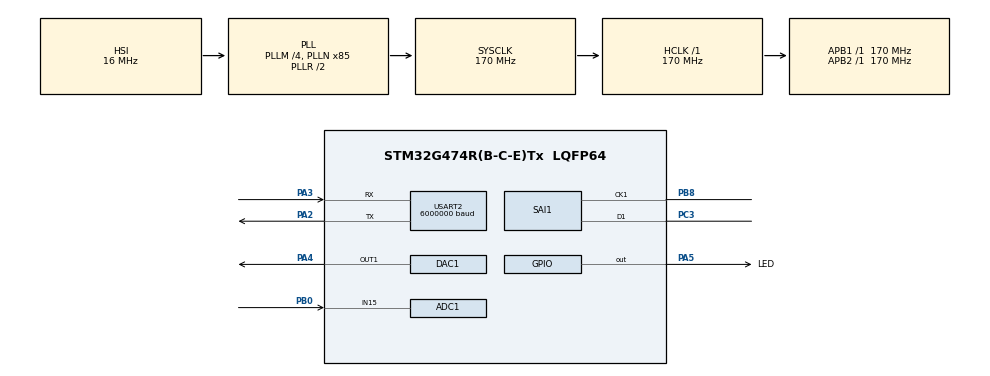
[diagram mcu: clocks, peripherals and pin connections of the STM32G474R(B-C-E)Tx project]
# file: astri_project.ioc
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ADC1.AWD1HighThreshold=2100
ADC1.AWD1ITMode=ENABLE
ADC1.Channel-0\#ChannelRegularConversion=ADC_CHANNEL_15
ADC1.ClockPrescaler=ADC_CLOCK_ASYNC_DIV4
ADC1.ContinuousConvMode=DISABLE
ADC1.DMAContinuousRequests=ENABLE
ADC1.EnableAnalogWatchDog1=true
ADC1.ExternalTrigConv=ADC_EXTERNALTRIG_T2_TRGO
ADC1.NbrOfConversionFlag=1
ADC1.OffsetNumber-0\#ChannelRegularConversion=ADC_OFFSET_NONE
ADC1.Rank-0\#ChannelRegularConversion=1
ADC1.SamplingTime-0\#ChannelRegularConversion=ADC_SAMPLETIME_12CYCLES_5
ADC1.WatchdogChannel=ADC_CHANNEL_15
ADC1.master=1
ARM.CMSIS.5.6.0.CMSISJjDSP=Library
DAC1.DAC_Trigger_OUT1-DAC_OUT1=DAC_TRIGGER_T6_TRGO
Dma.ADC1.0.Direction=DMA_PERIPH_TO_MEMORY
Dma.ADC1.0.EventEnable=DISABLE
Dma.ADC1.0.Instance=DMA1_Channel1
Dma.ADC1.0.MemDataAlignment=DMA_MDATAALIGN_HALFWORD
Dma.ADC1.0.MemInc=DMA_MINC_ENABLE
Dma.ADC1.0.Mode=DMA_CIRCULAR
Dma.ADC1.0.PeriphDataAlignment=DMA_PDATAALIGN_HALFWORD
Dma.ADC1.0.PeriphInc=DMA_PINC_DISABLE
Dma.ADC1.0.Polarity=HAL_DMAMUX_REQ_GEN_RISING
Dma.ADC1.0.Priority=DMA_PRIORITY_HIGH
Dma.ADC1.0.RequestNumber=1
Dma.ADC1.0.SignalID=NONE
Dma.ADC1.0.SyncEnable=DISABLE
Dma.ADC1.0.SyncPolarity=HAL_DMAMUX_SYNC_NO_EVENT
Dma.ADC1.0.SyncRequestNumber=1
Dma.ADC1.0.SyncSignalID=NONE
Dma.Request0=ADC1
Dma.Request1=USART2_TX
Dma.USART2_TX.1.Direction=DMA_MEMORY_TO_PERIPH
Dma.USART2_TX.1.EventEnable=DISABLE
Dma.USART2_TX.1.Instance=DMA1_Channel2
Dma.USART2_TX.1.MemDataAlignment=DMA_MDATAALIGN_BYTE
Dma.USART2_TX.1.MemInc=DMA_MINC_ENABLE
Dma.USART2_TX.1.Mode=DMA_NORMAL
Dma.USART2_TX.1.PeriphDataAlignment=DMA_PDATAALIGN_BYTE
Dma.USART2_TX.1.PeriphInc=DMA_PINC_DISABLE
Dma.USART2_TX.1.Polarity=HAL_DMAMUX_REQ_GEN_RISING
Dma.USART2_TX.1.Priority=DMA_PRIORITY_LOW
Dma.USART2_TX.1.RequestNumber=1
Dma.USART2_TX.1.SignalID=NONE
Dma.USART2_TX.1.SyncEnable=DISABLE
Dma.USART2_TX.1.SyncPolarity=HAL_DMAMUX_SYNC_NO_EVENT
Dma.USART2_TX.1.SyncRequestNumber=1
Dma.USART2_TX.1.SyncSignalID=NONE
Mcu.Family=STM32G4
Mcu.Name=STM32G474R(B-C-E)Tx
Mcu.Package=LQFP64
NVIC.ADC1_2_IRQn=true\:0\:0\:false\:false\:true\:true\:true\:true
NVIC.DMA1_Channel1_IRQn=true\:0\:0\:false\:false\:true\:false\:true\:true
NVIC.DMA1_Channel2_IRQn=true\:0\:0\:false\:false\:true\:false\:true\:true
NVIC.PriorityGroup=NVIC_PRIORITYGROUP_4
NVIC.USART2_IRQn=true\:0\:0\:false\:false\:true\:true\:true\:true
PA13.GPIO_Label=T_SWDIO
PA13.Signal=SYS_JTMS-SWDIO
PA14.GPIO_Label=T_SWCLK
PA14.Signal=SYS_JTCK-SWCLK
PA2.Mode=Asynchronous
PA2.Signal=USART2_TX
PA3.Mode=Asynchronous
PA3.Signal=USART2_RX
PA4.Signal=COMP_DAC11_group
PA5.GPIO_Label=LED
PA5.Signal=GPIO_Output
PB0.Mode=IN15-Single-Ended
PB0.Signal=ADC1_IN15
PB3.GPIO_Label=T_SWO
PB3.Signal=SYS_JTDO-SWO
PB8-BOOT0.Mode=PDM_Master_Mode_CK1
PB8-BOOT0.Signal=SAI1_CK1
PC14-OSC32_IN.GPIO_Label=RCC_OSC32_IN
PC14-OSC32_IN.Signal=RCC_OSC32_IN
PC15-OSC32_OUT.GPIO_Label=RCC_OSC32_OUT
PC15-OSC32_OUT.Signal=RCC_OSC32_OUT
PC3.Mode=PDM_Master_Mode_CK1
PC3.Signal=SAI1_D1
PF0-OSC_IN.GPIO_Label=RCC_OSC_IN
PF0-OSC_IN.Signal=RCC_OSC_IN
PF1-OSC_OUT.GPIO_Label=RCC_OSC_OUT
PF1-OSC_OUT.Signal=RCC_OSC_OUT
ProjectManager.HeapSize=0x200
ProjectManager.StackSize=0x400
ProjectManager.TargetToolchain=STM32CubeIDE
RCC.ADC12CLockSelection=RCC_ADC12CLKSOURCE_PLL
RCC.ADC12Freq_Value=170000000
RCC.ADC345Freq_Value=170000000
RCC.AHBFreq_Value=170000000
RCC.APB1Freq_Value=170000000
RCC.APB1TimFreq_Value=170000000
RCC.APB2Freq_Value=170000000
RCC.APB2TimFreq_Value=170000000
RCC.CortexFreq_Value=170000000
RCC.EXTERNAL_CLOCK_VALUE=12288000
RCC.HCLKFreq_Value=170000000
RCC.HSE_VALUE=24000000
RCC.HSI48_VALUE=48000000
RCC.HSI_VALUE=16000000
RCC.LSE_VALUE=32768
RCC.PLLM=RCC_PLLM_DIV4
RCC.PLLN=85
RCC.PLLQ=RCC_PLLQ_DIV6
RCC.RTCClockSelection=RCC_RTCCLKSOURCE_LSE
RCC.SAI1CLockSelection=RCC_SAI1CLKSOURCE_PLL
RCC.SYSCLKFreq_VALUE=170000000
RCC.SYSCLKSource=RCC_SYSCLKSOURCE_PLLCLK
RCC.USBFreq_Value=56666666.666666664
RCC.VCOOutputFreq_Value=340000000
SAI1.Activation=ENABLE
SAI1.AudioFrequency-PDM_Master_Mode_CK1=SAI_AUDIO_FREQUENCY_MCKDIV
SAI1.DataSize-PDM_Master_Mode_CK1=SAI_DATASIZE_16
SAI1.FSPolarity-PDM_Master_Mode_CK1=SAI_FS_ACTIVE_HIGH
SAI1.FrameLength-PDM_Master_Mode_CK1=16
SAI1.Instance-PDM_Master_Mode_CK1=SAI$Index_Block_A
SAI1.MckOutput-PDM_Master_Mode_CK1=SAI_MCK_OUTPUT_DISABLE
SAI1.Mckdiv-PDM_Master_Mode_CK1=14
SAI1.MonoStereoMode-PDM_Master_Mode_CK1=SAI_MONOMODE
SAI1.SlotActive-PDM_Master_Mode_CK1=0x00000003
SAI1.VirtualMode-PDM_Master_Mode_CK1=VM_MASTER
SAI1.VirtualProtocol-PDM_Master_Mode_CK1=VM_PDM_PROTOCOL
SH.COMP_DAC11_group.0=DAC1_OUT1,DAC_OUT1
TIM2.PeriodNoDither=679
TIM2.TIM_MasterOutputTrigger=TIM_TRGO_UPDATE
TIM6.AutoReloadPreload=TIM_AUTORELOAD_PRELOAD_ENABLE
TIM6.PeriodNoDither=169
TIM6.Prescaler=0
TIM6.TIM_MasterOutputTrigger=TIM_TRGO_UPDATE
USART2.BaudRate=6000000
USART2.VirtualMode-Asynchronous=VM_ASYNC
VP_ARM.CMSIS_VS_CMSISJjDSP_1.7.0_5.6.0.Mode=CMSISJjDSP
VP_CRC_VS_CRC.Mode=CRC_Activate
VP_SYS_VS_DBSignals.Mode=DisableDeadBatterySignals
VP_TIM2_VS_ClockSourceINT.Mode=Internal
VP_TIM6_VS_ClockSourceINT.Mode=Enable_Timer
board=NUCLEO-G474RE

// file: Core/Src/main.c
/* USER CODE BEGIN Header */
/**
  ******************************************************************************
  * @file           : main.c
  * @brief          : Main program body
  ******************************************************************************
  * @attention
  *
  * Copyright (c) 2026 STMicroelectronics.
  * All rights reserved.
  *
  * This software is licensed under terms that can be found in the LICENSE file
  * in the root directory of this software component.
  * If no LICENSE file comes with this software, it is provided AS-IS.
  *
  ******************************************************************************
  */
/* USER CODE END Header */
#include "main.h"

/* USER CODE BEGIN Includes */
#include <stdio.h>
#include "network.h"
#include "arm_math.h"
/* USER CODE END Includes */

/* USER CODE BEGIN PD */

/**
 * ADC
 */
#define BLOCK_SIZE  512
#define ADC_BUF_SIZE (BLOCK_SIZE * 2)
#define FFT_BINS     (BLOCK_SIZE / 2)   // half of block size always, each bin represents = sampling frequency/no. of bins
#define MAG_SIZE (BLOCK_SIZE / 2)

/**
 * UART
 */
#define HEADER_BYTES      2                            // 0xAA, 0xBB
#define PAYLOAD_BYTES     ((FFT_BINS+1) * sizeof(float))   // 256 * 4 = 1024 bytes
#define FOOTER_BYTES      2                            // 0xCC, 0xDD

#define TX_BUF_SIZE       (HEADER_BYTES + PAYLOAD_BYTES + FOOTER_BYTES) // 1028 bytes //originally block size/2

/**
 * DAC
 */
#define DMA_BUFFER_SIZE 64
#define NS  128 // 2x of DMA BUFFER SIZE, no. of points in the sinusoidal wave

/**
 * AI INPUT PRE-PROCESS
 */
#define INPUT_SCALE       (1.0f / 255.0f) // 1/(no. of inputs-1)
#define INPUT_ZERO_POINT  (-128.0f)
#define IS_ARC_BUFFER_SIZE 50

/**
 * Impulse detection
 */
#define PREV_FFT_BUFFER_SIZE 100
#define AVG_BUFFER_SIZE 30
#define AVG_THRESHOLD 30.0f // Set your desired threshold as float32_t

/**
 * SAI
 */
#define DECIMATION_FACTOR   16
#define PCM_BLOCK_SIZE      64    // 64 PCM output samples per DMA interrupt
#define PDM_BUF_SIZE        (PCM_BLOCK_SIZE * DECIMATION_FACTOR * 2) // 2048 words
#define SAI_FFT_SIZE          512
#define SAI_FFT_MAG_SIZE      ((SAI_FFT_SIZE / 2) + 1) // 257 bins (DC to Nyquist)

/* USER CODE END PD */

ADC_HandleTypeDef hadc1;
DMA_HandleTypeDef hdma_adc1;

CRC_HandleTypeDef hcrc;

DAC_HandleTypeDef hdac1;

SAI_HandleTypeDef hsai_BlockA1;

TIM_HandleTypeDef htim2;
TIM_HandleTypeDef htim6;

UART_HandleTypeDef huart2;
DMA_HandleTypeDef hdma_usart2_tx;

/* USER CODE BEGIN PV */

/*1D CNN*/
/* Global byte buffer to save instantiated C-model network context */
STAI_ALIGNED(STAI_NETWORK_CONTEXT_ALIGNMENT)
static stai_network network_context[STAI_NETWORK_CONTEXT_SIZE] = {0};

/* Global c-array to handle the activations buffer */
STAI_ALIGNED(STAI_NETWORK_ACTIVATION_1_ALIGNMENT)
static uint8_t activations[STAI_NETWORK_ACTIVATION_1_SIZE_BYTES];

/* Array to store the data of the input tensor */
STAI_ALIGNED(STAI_NETWORK_IN_1_ALIGNMENT)
static int8_t in_data[STAI_NETWORK_IN_1_SIZE];
/* or static uint8_t/float in_data[STAI_NETWORK_IN_1_SIZE_BYTES]; */

/* c-array to store the data of the output tensor */
STAI_ALIGNED(STAI_NETWORK_OUT_1_ALIGNMENT)
static int8_t out_data[STAI_NETWORK_OUT_1_SIZE];
/* static uint8_t/float out_data[STAI_NETWORK_OUT_1_SIZE_BYTES]; */

/* Array of pointer to manage the model's input/output tensors */
static stai_ptr stai_input[STAI_NETWORK_IN_NUM];
static stai_ptr stai_output[STAI_NETWORK_OUT_NUM];

/**
 * ADC
 */
volatile uint16_t g_adcBuffer[ADC_BUF_SIZE];
float32_t g_dspInput[BLOCK_SIZE];
float32_t g_fftOutput[BLOCK_SIZE]; // Real/Imaginary pairs (Size must match FFT needs)
float32_t g_fftMag[BLOCK_SIZE/2 + 1];
float32_t g_hannWindow[BLOCK_SIZE];
volatile uint32_t glow = 0;
float32_t prev_g_fftMag = -1.0f;

// Threads synchronization variables
volatile uint8_t g_fftReadyFlag = 0;
uint16_t *gp_activeAdcData = NULL; // Points to the stable half buffer

/**
 * FFT
 */
arm_rfft_fast_instance_f32 fftInstance;
arm_rfft_fast_instance_f32 saiFftInstance;

/* Global storage for the historical average */
float32_t g_fftMagAverage[MAG_SIZE + 1];
uint8_t g_isFirstRun = 1;

static float32_t prev_g_fftMag_buffer[PREV_FFT_BUFFER_SIZE] = {0.0f};
static int history_idx = 0;
static int sample_counter = 0;

static float32_t avg_running_sum = 0.0f;
float32_t avg_g_fftMag = 0.0f;

/* Smoothing settings: 0.15 gives a steady, calm floor while tracking 30k-40kHz peaks */
const float32_t ALPHA = 0.15f;
const float32_t ONE_MINUS_ALPHA = 1.0f - 0.15f;

/**
 * UART
 */
uint8_t dma_tx_buffer[TX_BUF_SIZE];
volatile uint8_t dma_busy = 0;

/**
 * AI inference
 */
volatile uint8_t large_impulse_flag = 0;
volatile uint8_t high_avg_flag = 0;
volatile uint8_t ai_ready_flag = 0;

static uint8_t frame_counter = 0;

int8_t is_arc = -128;
int8_t is_arc_buffer[IS_ARC_BUFFER_SIZE] ={0};
uint8_t is_arc_counter = 0;

/**
 * DAC - for testing only
 */

//uint16_t dma_buffer[2 * DMA_BUFFER_SIZE];

/*uint32_t Wave_LUT[NS] = {
    2048, 2149, 2250, 2350, 2450, 2549, 2646, 2742, 2837, 2929, 3020, 3108, 3193, 3275, 3355,
    3431, 3504, 3574, 3639, 3701, 3759, 3812, 3861, 3906, 3946, 3982, 4013, 4039, 4060, 4076,
    4087, 4094, 4095, 4091, 4082, 4069, 4050, 4026, 3998, 3965, 3927, 3884, 3837, 3786, 3730,
    3671, 3607, 3539, 3468, 3394, 3316, 3235, 3151, 3064, 2975, 2883, 2790, 2695, 2598, 2500,
    2400, 2300, 2199, 2098, 1997, 1896, 1795, 1695, 1595, 1497, 1400, 1305, 1212, 1120, 1031,
    944, 860, 779, 701, 627, 556, 488, 424, 365, 309, 258, 211, 168, 130, 97,
    69, 45, 26, 13, 4, 0, 1, 8, 19, 35, 56, 82, 113, 149, 189,
    234, 283, 336, 394, 456, 521, 591, 664, 740, 820, 902, 987, 1075, 1166, 1258,
    1353, 1449, 1546, 1645, 1745, 1845, 1946, 2047
};*/

/**
 * SAI
 */
uint16_t PDM_RxBuffer[PDM_BUF_SIZE];
float32_t g_saiInput[PCM_BLOCK_SIZE * 8];
float32_t g_saiOutput[PCM_BLOCK_SIZE * 8];
float32_t g_saiMag[(PCM_BLOCK_SIZE * 8 / 2) + 1];
uint16_t g_saiSampleCount = 0;
volatile uint8_t g_saiReadyFlag = 0;

/* USER CODE END PV */

void SystemClock_Config(void);
static void MX_GPIO_Init(void);
static void MX_DMA_Init(void);
static void MX_ADC1_Init(void);
static void MX_TIM2_Init(void);
static void MX_USART2_UART_Init(void);
static void MX_SAI1_Init(void);
static void MX_CRC_Init(void);
static void MX_DAC1_Init(void);
static void MX_TIM6_Init(void);

/* USER CODE BEGIN 0 */

/*
 * START - EDGE AI
 */
int aiInit(void) {
  stai_return_code ret_code;

  /* Initialize runtime library */
  ret_code = stai_runtime_init();
  if (ret_code != STAI_SUCCESS) { return -1;}

  /* Initialize network model context */
  ret_code = stai_network_init(network_context);
  if (ret_code != STAI_SUCCESS) { return -1;}

  /* Set network activations buffers */
  const stai_ptr acts[] = { activations };
  ret_code = stai_network_set_activations(network_context, acts, STAI_NETWORK_ACTIVATIONS_NUM);
  if (ret_code != STAI_SUCCESS) { return -1;}

  return 0;
}

int aiDeinit(void) {
  stai_return_code ret_code;

  /* Deinitialize network model context */
  ret_code = stai_network_deinit(network_context);
  if (ret_code != STAI_SUCCESS) { return -1;}

  /* Deinitialize runtime library */
  ret_code = stai_runtime_deinit();
  if (ret_code != STAI_SUCCESS) { return -1;}

  return 0;
}

/*
 * Run inference
 */
int aiRun(const void *in_data, void *out_data) {
  stai_return_code ret_code;

  /* Set network input/output buffers */
  const stai_ptr inputs_ptr[] = { in_data };
  ret_code = stai_network_set_inputs(network_context, inputs_ptr, STAI_NETWORK_IN_NUM);
  if (ret_code != STAI_SUCCESS) { return -1;}

  const stai_ptr outputs_ptr[] = { out_data };
  ret_code = stai_network_set_outputs(network_context, outputs_ptr, STAI_NETWORK_OUT_NUM);
  if (ret_code != STAI_SUCCESS) { return -1;}

  /* Perform the inference */
  ret_code = stai_network_run(network_context, STAI_MODE_SYNC);
  if (ret_code != STAI_SUCCESS) {
      ret_code = stai_network_get_error(network_context);
      return -1;

  }

  return 0;
}

void quantize_input(const float32_t *float_input, int8_t *int8_output, uint32_t length) {
    float32_t inv_scale = 1.0f / INPUT_SCALE;

    // Temporary buffer sized EXACTLY to the 131 elements we actually care about
    float32_t temp_buffer[131];

    // 1. Point directly to element 125 of your source data, and only scale 131 elements
    arm_scale_f32(&float_input[125], inv_scale, temp_buffer, length);

    // 2. Add zero-point and clip directly into the output
    for (uint32_t i = 0; i < length; i++) {
        // Round to nearest integer
        float32_t rounded = roundf(temp_buffer[i]) + INPUT_ZERO_POINT;

        // Manual clipping to prevent int8 overflow
        if (rounded > 127.0f)  rounded = 127.0f;
        if (rounded < -128.0f) rounded = -128.0f;

        int8_output[i] = (int8_t)rounded;
    }
}

int acquire_and_process_data(void *in_data)
{
	/* fill the inputs of the c-model
	for (int idx=0; idx < AI_NETWORK_IN_NUM; idx++ )
	{
	in_data[idx] = ....
	}
	*/
	// 3. CAST the void pointer to int8_t* so the compiler knows how to write to it
	int8_t *dst_buffer = (int8_t *)in_data;

	// Pass the float array, casted output buffer, and the exact slice size (131)
	quantize_input(g_fftMag, dst_buffer, 131);// 131 for the 131 frequency bins

	return 0;
}

int post_process(void *out_data){

	is_arc = ((int8_t*)out_data)[0];

	return 0;
}

/**
 * END - EDGE AI
 */

/**
 * START - FFT DSP
 */

// 2. Call this initialization function ONCE at startup (e.g., inside main())
void init_ultrasonic_window(void) {
    for (int i = 0; i < BLOCK_SIZE; i++) {
        // Hann window formula: 0.5 * (1 - cos(2 * pi * i / (N - 1)))
        g_hannWindow[i] = 0.5f * (1.0f - arm_cos_f32(2.0f * PI * (float32_t)i / (float32_t)(BLOCK_SIZE - 1)));
    }
}
void init_dsp(void) {
    // Initialize the Real FFT instance for a 512-point conversion
    arm_rfft_fast_init_f32(&fftInstance, BLOCK_SIZE);
    //arm_rfft_fast_init_f32(&saiFftInstance, SAI_FFT_SIZE);
}

void normalize_array_256_fast(float32_t *array) {
    float32_t min_val, max_val;
    uint32_t min_index, max_index;

    // 1. Find min and max using hardware-accelerated vectors
    arm_min_f32(array, 256, &min_val, &min_index);
    arm_max_f32(array, 256, &max_val, &max_index);

    float32_t range = max_val - min_val;

    if (range > 0.0f) {
        // 2. Subtract min_val from all elements: array[i] = array[i] - min_val
        arm_offset_f32(array, -min_val, array, 256);

        // 3. Multiply by (1 / range) instead of dividing inside a loop
        float32_t inv_range = 1.0f / range;
        arm_scale_f32(array, inv_range, array, 256);
    } else {
        // If all elements are equal, set entire array to 0
        arm_fill_f32(0.0f, array, 256);
    }
}
// Analog Mic
void process_ultrasonic_data(uint16_t *p_raw_buffer) {
    float32_t dcBias = 0.0f;

    // 1. Convert unsigned 16-bit to float directly (Safe for all ADC bit depths)
    for (int i = 0; i < BLOCK_SIZE; i++) {
        g_dspInput[i] = (float32_t)p_raw_buffer[i];
    }

    // 2. Compute the mean (Average DC Offset) using optimized hardware math
    arm_mean_f32(g_dspInput, BLOCK_SIZE, &dcBias);

    // 3. Subtract the DC offset from the entire vector in one shot
    arm_offset_f32(g_dspInput, -dcBias, g_dspInput, BLOCK_SIZE);

    arm_mult_f32(g_dspInput, g_hannWindow, g_dspInput, BLOCK_SIZE);

    // 4. Execute CMSIS-DSP Real FFT
    // Note: g_dspInput will be modified/destroyed during execution
    arm_rfft_fast_f32(&fftInstance, g_dspInput, g_fftOutput, 0);

    // 5. Correctly unpack and calculate magnitudes
    // Handle the pure-real DC component
    g_fftMag[0] = fabsf(g_fftOutput[0]);

    // Handle bins 1 to (BLOCK_SIZE/2 - 1)
    arm_cmplx_mag_f32(&g_fftOutput[2], &g_fftMag[1], (BLOCK_SIZE / 2) - 1);

    // Handle the pure-real Nyquist component (stored at the end of the mag array)
    g_fftMag[BLOCK_SIZE / 2] = fabsf(g_fftOutput[1]);

    //arm_fill_f32(0.0f, &g_fftMag[240], MAG_SIZE - 240);
    // ==========================================
    // NEW STEP: EXPONENTIAL MOVING AVERAGING
    // ==========================================

    if (g_isFirstRun) {
        // Seed the history buffer on the very first frame
        arm_copy_f32(g_fftMag, g_fftMagAverage, MAG_SIZE);
        g_isFirstRun = 0;
    } else {
    	// Used in-place stack
    	// use g_dspInput as scratch pad for temp_current
        //float32_t temp_current[MAG_SIZE];
    	// use g_fftMagAverage as scratch for temp_prev
        //float32_t temp_prev[MAG_SIZE];

        // Scale current raw frame: temp_current = g_fftMag * ALPHA
        arm_scale_f32(g_fftMag, ALPHA, g_dspInput, MAG_SIZE);
    	//arm_scale_f32(g_fftMag, ALPHA, temp_current, MAG_SIZE);

        // Scale historical data: temp_prev = g_fftMagAverage * (1 - ALPHA)
        arm_scale_f32(g_fftMagAverage, ONE_MINUS_ALPHA, g_fftMagAverage, MAG_SIZE);
    	//arm_scale_f32(g_fftMagAverage, ONE_MINUS_ALPHA, temp_prev, MAG_SIZE);

        // Merge them back into the history buffer: Avg = Current + Prev
        arm_add_f32(g_dspInput, g_fftMagAverage, g_fftMagAverage, MAG_SIZE);
    	//arm_add_f32(temp_current, temp_prev, g_fftMagAverage, MAG_SIZE);
    }

    // Copy the stable average back to g_fftMag so your normalization blocks use it
    arm_copy_f32(g_fftMagAverage, g_fftMag, MAG_SIZE);
    //normalize_array_256_fast(g_fftMag);
    /**
       * PRINT TO PC VIA UART
       */

    	// 1. Send a unique Start-of-Frame header (e.g., 2 bytes: 0xAA, 0xBB)
    	// This allows the computer to find the exact start of your array
    	uint8_t header[2] = {0xAA, 0xBB};
    	_write(1, (char *)header, 2);

    	// 2. Blast the ENTIRE float array out of memory in a single shot!
    	// No loops, no formatting math, no printf overhead.
    	uint32_t bytes_to_send = (BLOCK_SIZE / 2) * sizeof(float32_t);
    	_write(1, (char *)g_fftMagAverage, bytes_to_send);

    	// 3. Send an End-of-Frame footer (e.g., 2 bytes: 0xCC, 0xDD)
    	// This acts as a validation check for the PC
    	uint8_t footer[2] = {0xCC, 0xDD};
    	_write(1, (char *)footer, 2);

    //float32_t current_mag = g_fftMag[152];

    /** IMPULSE DETECTION**/

    // if (sample_counter >= PREV_FFT_BUFFER_SIZE) {
    //     // 1. Calculate the middle index (halfway back in time)
    //     int mid_idx = (history_idx + (PREV_FFT_BUFFER_SIZE / 2)) % PREV_FFT_BUFFER_SIZE;

    //     // 2. Extract the three points
    //     float32_t oldest = prev_g_fftMag_buffer[history_idx]; // Point A (low)
    //     float32_t mid    = prev_g_fftMag_buffer[mid_idx];     // Point B (high / candidate peak)
    //     float32_t current = g_fftMag[152];                     // Point C (low)

    //     // 3. Low-High-Low condition: Mid must be 3.2x higher than both Oldest and Current
    //     if ((mid > 2.5f * oldest) && (mid > 2.0f * current)) {
    //         large_impulse_flag = 1;
    //     }
    // } else {
    //     sample_counter++;
    // }

    // // Update ring buffer
    // prev_g_fftMag_buffer[history_idx] = g_fftMag[152];
    // history_idx = (history_idx + 1) % PREV_FFT_BUFFER_SIZE;

    // /**
    //  * AVERGAE
    //  */

    // if (avg_sample_counter >= AVG_BUFFER_SIZE) {
    //     // Subtract oldest float32_t value (30 steps ago)
    //     avg_running_sum -= avg_history_buffer[avg_history_idx];

    //     // Add current float32_t value
    //     avg_running_sum += current_mag;

    //     // Compute current 30-step average using single-precision division
    //     avg_g_fftMag = avg_running_sum / (float32_t)AVG_BUFFER_SIZE;

    //     // Trigger if average exceeds threshold
    //     if (avg_g_fftMag > AVG_THRESHOLD) {
    //         large_impulse_flag = 0;
    //     }
    // } else {
    //     // Warm-up phase: accumulate until the buffer has 30 samples
    //     avg_running_sum += current_mag;
    //     avg_sample_counter++;

    //     if (avg_sample_counter == AVG_BUFFER_SIZE) {
    //         avg_g_fftMag = avg_running_sum / (float32_t)AVG_BUFFER_SIZE;
    //     }
    // }

    // // Store current value and advance ring buffer pointer
    // avg_history_buffer[avg_history_idx] = current_mag;
    // avg_history_idx = (avg_history_idx + 1) % AVG_BUFFER_SIZE;

    /** MERGED IMPULSE DETECTION + AVERAGE AMPLITUDE**/
    // if (sample_counter >= PREV_FFT_BUFFER_SIZE) {
    //     // Retrieve the value from 30 steps ago BEFORE overwriting it
    //     float32_t oldest_30 = prev_g_fftMag_buffer[history_idx];

    //     /** 1. LOW-HIGH-LOW IMPULSE DETECTION **/
    //     // In a 30-element buffer, history_idx + 10 = 20 steps ago, history_idx + 20 = 10 steps ago
    //     uint32_t idx_20_ago = (history_idx + 10) % PREV_FFT_BUFFER_SIZE;
    //     uint32_t idx_10_ago = (history_idx + 20) % PREV_FFT_BUFFER_SIZE;

    //     float32_t oldest  = prev_g_fftMag_buffer[idx_20_ago]; // Point A: 20 steps ago
    //     float32_t mid     = prev_g_fftMag_buffer[idx_10_ago]; // Point B: 10 steps ago (peak)
    //     float32_t current = current_mag;                      // Point C: current step

    //     if ((mid > 2.5f * oldest) && (mid > 2.0f * current)) {
    //         large_impulse_flag = 1;
    //     }

    //     /** 2. MOVING AVERAGE DETECTOR **/
    //     // Subtract 30-step-old value and add current value
    //     avg_running_sum -= oldest_30;
    //     avg_running_sum += current_mag;

    //     // Compute average
    //     avg_g_fftMag = avg_running_sum / (float32_t)PREV_FFT_BUFFER_SIZE;

    //     if (avg_g_fftMag > AVG_THRESHOLD) {
    //         high_avg_flag = 1;
    //     }

    // } else {
    //     // Warm-up phase: accumulate until the buffer is filled with 30 samples
    //     avg_running_sum += current_mag;
    //     sample_counter++;

    //     if (sample_counter == PREV_FFT_BUFFER_SIZE) {
    //         avg_g_fftMag = avg_running_sum / (float32_t)PREV_FFT_BUFFER_SIZE;
    //     }
    // }

    // prev_g_fftMag_buffer[history_idx] = current_mag;
    // history_idx = (history_idx + 1) % PREV_FFT_BUFFER_SIZE;

}

void HAL_ADC_ConvHalfCpltCallback(ADC_HandleTypeDef* hadc) {
    // First half of buffer is full (samples 0 to BLOCK_SIZE-1)
	if (g_fftReadyFlag == 0) {
		gp_activeAdcData = &g_adcBuffer[0]; // Point to the first half
		g_fftReadyFlag = 1;                 // Wake up the main loop math
	} else {
		// Overrun Warning: Main loop didn't finish the last FFT in time!
	}
}

void HAL_ADC_ConvCpltCallback(ADC_HandleTypeDef* hadc) {
    // Second half of buffer is full (samples BLOCK_SIZE to ADC_BUF_SIZE-1)
	if (g_fftReadyFlag == 0) {
		gp_activeAdcData = &g_adcBuffer[BLOCK_SIZE]; // Point to the second half
		g_fftReadyFlag = 1;                          // Wake up the main loop math
	} else {
		// Overrun Warning: Main loop didn't finish the last FFT in time!
	}

}

//Digital Mic
void run_custom_cic_filter(uint16_t *p_raw_pdm, float32_t *p_out_pcm, uint16_t output_length)
{
    // Static state variables to preserve filter history across DMA blocks
    static int32_t integrator = 0;
    static int32_t delay_pipeline = 0;

    uint16_t pdm_word_idx = 0;

    for (uint16_t i = 0; i < output_length; i++)
    {
        // We need exactly 16 bits of PDM data to generate 1 PCM sample (Decimation = 16)
        // Since our SAI delivers 16-bit packed words, 1 word = 1 PCM sample slot
        uint16_t current_word = p_raw_pdm[pdm_word_idx++];

        // 1. Integrator Stage (High-Rate Loop: Loops 16 times per PCM sample)
        for (int8_t bit = 15; bit >= 0; bit--)
        {
            // Extract bits from MSB to LSB matching SPH0641 stream profile
            int32_t bit_val = (current_word >> bit) & 0x01;

            // Convert unipolar 0/1 bit stream to bipolar -1/+1 wave centers
            int32_t bipolar_val = (bit_val * 2) - 1;

            integrator += bipolar_val;
        }

        // 2. Comb Stage / Decimation (Low-Rate Loop: Executes once per 16 bits)
        int32_t comb_out = integrator - delay_pipeline;
        delay_pipeline = integrator; // Update delay state memory

        // 3. Float Conversion & Scale
        // The maximum output amplitude of an N-stage CIC is (Decimation)^N.
        // With Decimation=16, outputs fall between -16 and +16. Normalize to your target scale:
        p_out_pcm[i] = ((float32_t)comb_out / 16.0f) * 2048.0f;
    }
}

void HAL_SAI_RxHalfCpltCallback(SAI_HandleTypeDef *hsai)
{
    float32_t intermediate_pcm[PCM_BLOCK_SIZE];

    // Process first 1024 words of the raw buffer down into 64 PCM samples
    run_custom_cic_filter(&PDM_RxBuffer[0], intermediate_pcm, PCM_BLOCK_SIZE);

    // Accumulate into the main 512 FFT matrix
    if (g_saiReadyFlag == 0) {
        for(int i = 0; i < PCM_BLOCK_SIZE; i++) {
            g_saiInput[g_saiSampleCount++] = intermediate_pcm[i];
        }
        if (g_saiSampleCount >= 512) {
            g_saiSampleCount = 0;
            g_saiReadyFlag = 1; // Wake up main loop thread
        }
    }
}

void HAL_SAI_RxCpltCallback(SAI_HandleTypeDef *hsai)
{
    float32_t intermediate_pcm[PCM_BLOCK_SIZE];

    // Process second 1024 words of the raw buffer
    run_custom_cic_filter(&PDM_RxBuffer[PDM_BUF_SIZE / 2], intermediate_pcm, PCM_BLOCK_SIZE);

    if (g_saiReadyFlag == 0) {
        for(int i = 0; i < PCM_BLOCK_SIZE; i++) {
            g_saiInput[g_saiSampleCount++] = intermediate_pcm[i];
        }
        if (g_saiSampleCount >= 512) {
            g_saiSampleCount = 0;
            g_saiReadyFlag = 1;
        }
    }
}

/**
 * END - FFT DSP
 */

int _write(int file, char *ptr, int len)
{
    // If a previous print is still sending, wait or skip to avoid corrupting data
    // (For real-time FFT, skipping or blocking briefly depends on your requirements)
    while (dma_busy);

    // Cap the length to prevent buffer overflow
    if (len > TX_BUF_SIZE) len = TX_BUF_SIZE;

    // Copy to stable background memory
    memcpy(dma_tx_buffer, ptr, len);
    dma_busy = 1;

    // Transmit instantly in the background via DMA
    if (HAL_UART_Transmit_DMA(&huart2, dma_tx_buffer, len) == HAL_OK)
    {
        return len;
    }

    dma_busy = 0;
    return -1;

}

// This callback fires automatically when the DMA finishes transferring the data
void HAL_UART_TxCpltCallback(UART_HandleTypeDef *huart)
{
    if (huart->Instance == USART2)
    {
        dma_busy = 0; // Release the lock so the next _write can run
    }
}

//Increment counter if value into ADC buffer exceeds a threshold
//void HAL_ADC_LevelOutOfWindowCallback(ADC_HandleTypeDef* hadc)
//{
	//glow++;
//}

/* USER CODE END 0 */

int main(void)
{

  /* MCU Configuration--------------------------------------------------------*/

  /* Reset of all peripherals, Initializes the Flash interface and the Systick. */
  HAL_Init();

  /* Configure the system clock */
  SystemClock_Config();

  /* Initialize all configured peripherals */
  MX_GPIO_Init();
  MX_DMA_Init();
  MX_ADC1_Init();
  MX_TIM2_Init();
  MX_USART2_UART_Init();
  MX_SAI1_Init();
  MX_CRC_Init();
  MX_DAC1_Init();
  MX_TIM6_Init();

  /* Infinite loop */
  /* USER CODE BEGIN WHILE */

  init_dsp();
  init_ultrasonic_window();
  HAL_ADC_Start_DMA(&hadc1, (uint32_t*)g_adcBuffer, ADC_BUF_SIZE);
  HAL_TIM_Base_Start(&htim2);

 // aiInit();

  /** Test FFT with sinusoidal wave: sinusoidal wave frequency = trigger frequency/NS */
  //HAL_TIM_Base_Start_IT(&htim6);

  //HAL_DAC_Start_DMA(&hdac1, DAC_CHANNEL_1, (uint32_t*) Wave_LUT, NS, DAC_ALIGN_12B_R);

  while (1)
  {

    /* USER CODE END WHILE */

    /* USER CODE BEGIN 3 */

	  // Check if a new half-buffer snapshot is safely ready for math processing
	  if (g_fftReadyFlag == 1)
	  {
		  g_fftReadyFlag = 0;

		  process_ultrasonic_data(gp_activeAdcData);

		  // frame_counter++;
		  // if (frame_counter >= 5 && (large_impulse_flag>0 || high_avg_flag>0)) { // Run AI on every 5th FFT frame
		  //     frame_counter = 0;

		  //     /* 1 - Acquire, pre-process and fill the input buffers */
		  //     acquire_and_process_data(in_data);
		  //     ai_ready_flag = 1;

		  // }

	  }
	  // if(ai_ready_flag == 1){
		//   ai_ready_flag = 0;

		//   /* 2 - Call inference engine */
		//   aiRun(in_data, out_data);

		//   /* 3 - Post-process the predictions */
		//   post_process(out_data);

		//   is_arc_buffer[is_arc_counter%IS_ARC_BUFFER_SIZE] = is_arc;
		//   is_arc_counter++;

		//   int16_t sum_is_arc = 0;

		//   for (int i = 0; i < IS_ARC_BUFFER_SIZE; i++) {
		//      sum_is_arc += is_arc_buffer[i];
		//   }

		//   if (sum_is_arc < -120) {
		// 	  large_impulse_flag = 0;
		// 	  is_arc_counter = 0;
		// 	  high_avg_flag = 0;
		// 	  //is_arc = -128;
		//   }

	  // }

  }
  //aiDeinit();
  /* USER CODE END 3 */
}

void SystemClock_Config(void)
{
  RCC_OscInitTypeDef RCC_OscInitStruct = {0};
  RCC_ClkInitTypeDef RCC_ClkInitStruct = {0};

  /** Configure the main internal regulator output voltage
  */
  HAL_PWREx_ControlVoltageScaling(PWR_REGULATOR_VOLTAGE_SCALE1_BOOST);

  /** Initializes the RCC Oscillators according to the specified parameters
  * in the RCC_OscInitTypeDef structure.
  */
  RCC_OscInitStruct.OscillatorType = RCC_OSCILLATORTYPE_HSI;
  RCC_OscInitStruct.HSIState = RCC_HSI_ON;
  RCC_OscInitStruct.HSICalibrationValue = RCC_HSICALIBRATION_DEFAULT;
  RCC_OscInitStruct.PLL.PLLState = RCC_PLL_ON;
  RCC_OscInitStruct.PLL.PLLSource = RCC_PLLSOURCE_HSI;
  RCC_OscInitStruct.PLL.PLLM = RCC_PLLM_DIV4;
  RCC_OscInitStruct.PLL.PLLN = 85;
  RCC_OscInitStruct.PLL.PLLP = RCC_PLLP_DIV2;
  RCC_OscInitStruct.PLL.PLLQ = RCC_PLLQ_DIV6;
  RCC_OscInitStruct.PLL.PLLR = RCC_PLLR_DIV2;
  if (HAL_RCC_OscConfig(&RCC_OscInitStruct) != HAL_OK)
  {
    Error_Handler();
  }

  /** Initializes the CPU, AHB and APB buses clocks
  */
  RCC_ClkInitStruct.ClockType = RCC_CLOCKTYPE_HCLK|RCC_CLOCKTYPE_SYSCLK
                              |RCC_CLOCKTYPE_PCLK1|RCC_CLOCKTYPE_PCLK2;
  RCC_ClkInitStruct.SYSCLKSource = RCC_SYSCLKSOURCE_PLLCLK;
  RCC_ClkInitStruct.AHBCLKDivider = RCC_SYSCLK_DIV1;
  RCC_ClkInitStruct.APB1CLKDivider = RCC_HCLK_DIV1;
  RCC_ClkInitStruct.APB2CLKDivider = RCC_HCLK_DIV1;

  if (HAL_RCC_ClockConfig(&RCC_ClkInitStruct, FLASH_LATENCY_4) != HAL_OK)
  {
    Error_Handler();
  }
}

static void MX_ADC1_Init(void)
{

  ADC_MultiModeTypeDef multimode = {0};
  ADC_AnalogWDGConfTypeDef AnalogWDGConfig = {0};
  ADC_ChannelConfTypeDef sConfig = {0};

  /** Common config
  */
  hadc1.Instance = ADC1;
  hadc1.Init.ClockPrescaler = ADC_CLOCK_ASYNC_DIV4;
  hadc1.Init.Resolution = ADC_RESOLUTION_12B;
  hadc1.Init.DataAlign = ADC_DATAALIGN_RIGHT;
  hadc1.Init.GainCompensation = 0;
  hadc1.Init.ScanConvMode = ADC_SCAN_DISABLE;
  hadc1.Init.EOCSelection = ADC_EOC_SINGLE_CONV;
  hadc1.Init.LowPowerAutoWait = DISABLE;
  hadc1.Init.ContinuousConvMode = DISABLE;
  hadc1.Init.NbrOfConversion = 1;
  hadc1.Init.DiscontinuousConvMode = DISABLE;
  hadc1.Init.ExternalTrigConv = ADC_EXTERNALTRIG_T2_TRGO;
  hadc1.Init.ExternalTrigConvEdge = ADC_EXTERNALTRIGCONVEDGE_RISING;
  hadc1.Init.DMAContinuousRequests = ENABLE;
  hadc1.Init.Overrun = ADC_OVR_DATA_PRESERVED;
  hadc1.Init.OversamplingMode = DISABLE;
  if (HAL_ADC_Init(&hadc1) != HAL_OK)
  {
    Error_Handler();
  }

  /** Configure the ADC multi-mode
  */
  multimode.Mode = ADC_MODE_INDEPENDENT;
  if (HAL_ADCEx_MultiModeConfigChannel(&hadc1, &multimode) != HAL_OK)
  {
    Error_Handler();
  }

  /** Configure Analog WatchDog 1
  */
  AnalogWDGConfig.WatchdogNumber = ADC_ANALOGWATCHDOG_1;
  AnalogWDGConfig.WatchdogMode = ADC_ANALOGWATCHDOG_SINGLE_REG;
  AnalogWDGConfig.Channel = ADC_CHANNEL_15;
  AnalogWDGConfig.ITMode = ENABLE;
  AnalogWDGConfig.HighThreshold = 2100;
  AnalogWDGConfig.LowThreshold = 0;
  AnalogWDGConfig.FilteringConfig = ADC_AWD_FILTERING_NONE;
  if (HAL_ADC_AnalogWDGConfig(&hadc1, &AnalogWDGConfig) != HAL_OK)
  {
    Error_Handler();
  }

  /** Configure Regular Channel
  */
  sConfig.Channel = ADC_CHANNEL_15;
  sConfig.Rank = ADC_REGULAR_RANK_1;
  sConfig.SamplingTime = ADC_SAMPLETIME_12CYCLES_5;
  sConfig.SingleDiff = ADC_SINGLE_ENDED;
  sConfig.OffsetNumber = ADC_OFFSET_NONE;
  sConfig.Offset = 0;
  if (HAL_ADC_ConfigChannel(&hadc1, &sConfig) != HAL_OK)
  {
    Error_Handler();
  }

}

static void MX_CRC_Init(void)
{

  hcrc.Instance = CRC;
  hcrc.Init.DefaultPolynomialUse = DEFAULT_POLYNOMIAL_ENABLE;
  hcrc.Init.DefaultInitValueUse = DEFAULT_INIT_VALUE_ENABLE;
  hcrc.Init.InputDataInversionMode = CRC_INPUTDATA_INVERSION_NONE;
  hcrc.Init.OutputDataInversionMode = CRC_OUTPUTDATA_INVERSION_DISABLE;
  hcrc.InputDataFormat = CRC_INPUTDATA_FORMAT_BYTES;
  if (HAL_CRC_Init(&hcrc) != HAL_OK)
  {
    Error_Handler();
  }

}

static void MX_DAC1_Init(void)
{

  DAC_ChannelConfTypeDef sConfig = {0};

  /** DAC Initialization
  */
  hdac1.Instance = DAC1;
  if (HAL_DAC_Init(&hdac1) != HAL_OK)
  {
    Error_Handler();
  }

  /** DAC channel OUT1 config
  */
  sConfig.DAC_HighFrequency = DAC_HIGH_FREQUENCY_INTERFACE_MODE_AUTOMATIC;
  sConfig.DAC_DMADoubleDataMode = DISABLE;
  sConfig.DAC_SignedFormat = DISABLE;
  sConfig.DAC_SampleAndHold = DAC_SAMPLEANDHOLD_DISABLE;
  sConfig.DAC_Trigger = DAC_TRIGGER_T6_TRGO;
  sConfig.DAC_Trigger2 = DAC_TRIGGER_NONE;
  sConfig.DAC_OutputBuffer = DAC_OUTPUTBUFFER_ENABLE;
  sConfig.DAC_ConnectOnChipPeripheral = DAC_CHIPCONNECT_EXTERNAL;
  sConfig.DAC_UserTrimming = DAC_TRIMMING_FACTORY;
  if (HAL_DAC_ConfigChannel(&hdac1, &sConfig, DAC_CHANNEL_1) != HAL_OK)
  {
    Error_Handler();
  }

}

static void MX_SAI1_Init(void)
{

  hsai_BlockA1.Instance = SAI1_Block_A;
  hsai_BlockA1.Init.Protocol = SAI_FREE_PROTOCOL;
  hsai_BlockA1.Init.AudioMode = SAI_MODEMASTER_RX;
  hsai_BlockA1.Init.DataSize = SAI_DATASIZE_16;
  hsai_BlockA1.Init.FirstBit = SAI_FIRSTBIT_MSB;
  hsai_BlockA1.Init.ClockStrobing = SAI_CLOCKSTROBING_FALLINGEDGE;
  hsai_BlockA1.Init.Synchro = SAI_ASYNCHRONOUS;
  hsai_BlockA1.Init.OutputDrive = SAI_OUTPUTDRIVE_DISABLE;
  hsai_BlockA1.Init.NoDivider = SAI_MASTERDIVIDER_ENABLE;
  hsai_BlockA1.Init.MckOverSampling = SAI_MCK_OVERSAMPLING_DISABLE;
  hsai_BlockA1.Init.FIFOThreshold = SAI_FIFOTHRESHOLD_EMPTY;
  hsai_BlockA1.Init.AudioFrequency = SAI_AUDIO_FREQUENCY_MCKDIV;
  hsai_BlockA1.Init.MckOutput = SAI_MCK_OUTPUT_DISABLE;
  hsai_BlockA1.Init.Mckdiv = 14;
  hsai_BlockA1.Init.MonoStereoMode = SAI_MONOMODE;
  hsai_BlockA1.Init.CompandingMode = SAI_NOCOMPANDING;
  hsai_BlockA1.Init.PdmInit.Activation = ENABLE;
  hsai_BlockA1.Init.PdmInit.MicPairsNbr = 1;
  hsai_BlockA1.Init.PdmInit.ClockEnable = SAI_PDM_CLOCK1_ENABLE;
  hsai_BlockA1.FrameInit.FrameLength = 16;
  hsai_BlockA1.FrameInit.ActiveFrameLength = 1;
  hsai_BlockA1.FrameInit.FSDefinition = SAI_FS_STARTFRAME;
  hsai_BlockA1.FrameInit.FSPolarity = SAI_FS_ACTIVE_HIGH;
  hsai_BlockA1.FrameInit.FSOffset = SAI_FS_FIRSTBIT;
  hsai_BlockA1.SlotInit.FirstBitOffset = 0;
  hsai_BlockA1.SlotInit.SlotSize = SAI_SLOTSIZE_DATASIZE;
  hsai_BlockA1.SlotInit.SlotNumber = 2;
  hsai_BlockA1.SlotInit.SlotActive = 0x00000003;
  if (HAL_SAI_Init(&hsai_BlockA1) != HAL_OK)
  {
    Error_Handler();
  }

}

static void MX_TIM2_Init(void)
{

  TIM_ClockConfigTypeDef sClockSourceConfig = {0};
  TIM_MasterConfigTypeDef sMasterConfig = {0};

  htim2.Instance = TIM2;
  htim2.Init.Prescaler = 0;
  htim2.Init.CounterMode = TIM_COUNTERMODE_UP;
  htim2.Init.Period = 1889;
  htim2.Init.ClockDivision = TIM_CLOCKDIVISION_DIV1;
  htim2.Init.AutoReloadPreload = TIM_AUTORELOAD_PRELOAD_DISABLE;
  if (HAL_TIM_Base_Init(&htim2) != HAL_OK)
  {
    Error_Handler();
  }
  sClockSourceConfig.ClockSource = TIM_CLOCKSOURCE_INTERNAL;
  if (HAL_TIM_ConfigClockSource(&htim2, &sClockSourceConfig) != HAL_OK)
  {
    Error_Handler();
  }
  sMasterConfig.MasterOutputTrigger = TIM_TRGO_UPDATE;
  sMasterConfig.MasterSlaveMode = TIM_MASTERSLAVEMODE_DISABLE;
  if (HAL_TIMEx_MasterConfigSynchronization(&htim2, &sMasterConfig) != HAL_OK)
  {
    Error_Handler();
  }

}

static void MX_TIM6_Init(void)
{

  TIM_MasterConfigTypeDef sMasterConfig = {0};

  htim6.Instance = TIM6;
  htim6.Init.Prescaler = 0;
  htim6.Init.CounterMode = TIM_COUNTERMODE_UP;
  htim6.Init.Period = 169;
  htim6.Init.AutoReloadPreload = TIM_AUTORELOAD_PRELOAD_ENABLE;
  if (HAL_TIM_Base_Init(&htim6) != HAL_OK)
  {
    Error_Handler();
  }
  sMasterConfig.MasterOutputTrigger = TIM_TRGO_UPDATE;
  sMasterConfig.MasterSlaveMode = TIM_MASTERSLAVEMODE_DISABLE;
  if (HAL_TIMEx_MasterConfigSynchronization(&htim6, &sMasterConfig) != HAL_OK)
  {
    Error_Handler();
  }

}

static void MX_USART2_UART_Init(void)
{

  huart2.Instance = USART2;
  huart2.Init.BaudRate = 6000000;
  huart2.Init.WordLength = UART_WORDLENGTH_8B;
  huart2.Init.StopBits = UART_STOPBITS_1;
  huart2.Init.Parity = UART_PARITY_NONE;
  huart2.Init.Mode = UART_MODE_TX_RX;
  huart2.Init.HwFlowCtl = UART_HWCONTROL_NONE;
  huart2.Init.OverSampling = UART_OVERSAMPLING_16;
  huart2.Init.OneBitSampling = UART_ONE_BIT_SAMPLE_DISABLE;
  huart2.Init.ClockPrescaler = UART_PRESCALER_DIV1;
  huart2.AdvancedInit.AdvFeatureInit = UART_ADVFEATURE_NO_INIT;
  if (HAL_UART_Init(&huart2) != HAL_OK)
  {
    Error_Handler();
  }
  if (HAL_UARTEx_SetTxFifoThreshold(&huart2, UART_TXFIFO_THRESHOLD_1_8) != HAL_OK)
  {
    Error_Handler();
  }
  if (HAL_UARTEx_SetRxFifoThreshold(&huart2, UART_RXFIFO_THRESHOLD_1_8) != HAL_OK)
  {
    Error_Handler();
  }
  if (HAL_UARTEx_DisableFifoMode(&huart2) != HAL_OK)
  {
    Error_Handler();
  }

}

static void MX_DMA_Init(void)
{

  /* DMA controller clock enable */
  __HAL_RCC_DMAMUX1_CLK_ENABLE();
  __HAL_RCC_DMA1_CLK_ENABLE();

  /* DMA interrupt init */
  /* DMA1_Channel1_IRQn interrupt configuration */
  HAL_NVIC_SetPriority(DMA1_Channel1_IRQn, 0, 0);
  HAL_NVIC_EnableIRQ(DMA1_Channel1_IRQn);
  /* DMA1_Channel2_IRQn interrupt configuration */
  HAL_NVIC_SetPriority(DMA1_Channel2_IRQn, 0, 0);
  HAL_NVIC_EnableIRQ(DMA1_Channel2_IRQn);

}

static void MX_GPIO_Init(void)
{
  GPIO_InitTypeDef GPIO_InitStruct = {0};

  /* GPIO Ports Clock Enable */
  __HAL_RCC_GPIOC_CLK_ENABLE();
  __HAL_RCC_GPIOF_CLK_ENABLE();
  __HAL_RCC_GPIOA_CLK_ENABLE();
  __HAL_RCC_GPIOB_CLK_ENABLE();

  /*Configure GPIO pin Output Level */
  HAL_GPIO_WritePin(LED_GPIO_Port, LED_Pin, GPIO_PIN_RESET);

  /*Configure GPIO pin : LED_Pin */
  GPIO_InitStruct.Pin = LED_Pin;
  GPIO_InitStruct.Mode = GPIO_MODE_OUTPUT_PP;
  GPIO_InitStruct.Pull = GPIO_NOPULL;
  GPIO_InitStruct.Speed = GPIO_SPEED_FREQ_LOW;
  HAL_GPIO_Init(LED_GPIO_Port, &GPIO_InitStruct);

}

void Error_Handler(void)
{
  __disable_irq();
  while (1)
  {
  }
}
